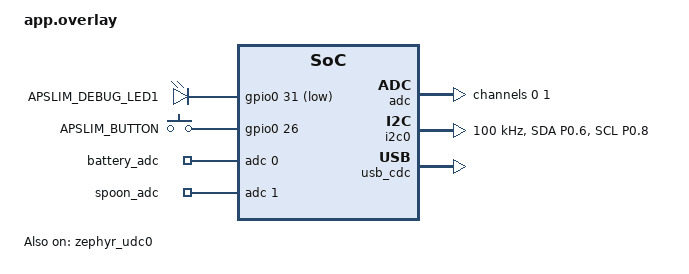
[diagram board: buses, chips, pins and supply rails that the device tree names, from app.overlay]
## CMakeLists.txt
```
cmake_minimum_required(VERSION 3.20.0)
find_package(Zephyr REQUIRED HINTS $ENV{ZEPHYR_BASE})

project(2026-09-16-000)

target_sources(app PRIVATE src/main.c)
```

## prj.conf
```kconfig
# APSLIM original HW bring-up main.c
# Raytac MDBT50Q-DB-40 / nRF52840, NCS v3.4.1

CONFIG_GPIO=y
CONFIG_ADC=y
CONFIG_I2C=y

# Legacy USB CDC ACM: the original main.c calls usb_enable(NULL).
CONFIG_SERIAL=y
CONFIG_UART_INTERRUPT_DRIVEN=y
CONFIG_UART_LINE_CTRL=y
CONFIG_USB_DEVICE_STACK=y
CONFIG_USB_CDC_ACM=y

# Disable physical UART console (Raytac UART0 overlaps I2C0 pins).
# USB CDC remains available through uart_poll_out(cdc_dev, ...).
CONFIG_CONSOLE=n
CONFIG_UART_CONSOLE=n
CONFIG_LOG=n
```

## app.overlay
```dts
/*
 * APSLIM Rev.A - Minimal Hardware Bring-up Overlay
 * Target: Raytac MDBT50Q-DB-40 / nRF52840
 * SDK: nRF Connect SDK v3.4.1
 *
 * main.c: UNCHANGED
 * Keep: USB CDC, I2C0/1, GPIO (LED/Button), battery/spoon ADC.
 * Disable Raytac board peripherals that may conflict with these pins.
 */

#include <zephyr/dt-bindings/gpio/gpio.h>
#include <zephyr/dt-bindings/adc/adc.h>
#include <zephyr/dt-bindings/adc/nrf-saadc.h>
#include <zephyr/dt-bindings/pinctrl/nrf-pinctrl.h>

/ {
    chosen {
        /* Use USB CDC instead of the development board's HW UART. */
        zephyr,console = &usb_cdc;
        zephyr,shell-uart = &usb_cdc;
    };

    /* GPIO: DEBUG LED P0.31 (active-low), BUTTON P0.26. */
    leds {
        compatible = "gpio-leds";

        apslim_debug_led1: apslim_debug_led_1 {
            gpios = <&gpio0 31 GPIO_ACTIVE_LOW>;
            label = "APSLIM_DEBUG_LED1";
        };
    };

    buttons {
        compatible = "gpio-keys";

        apslim_user_btn: apslim_user_button {
            gpios = <&gpio0 26 GPIO_ACTIVE_HIGH>;
            label = "APSLIM_BUTTON";
        };
    };

    /* Required by the unchanged main.c: DT_PATH(zephyr_user). */
    zephyr,user {
        io-channels = <&adc 0>, <&adc 1>;
        io-channel-names = "battery_adc", "spoon_adc";
    };

    aliases {
        led0 = &apslim_debug_led1;
        sw0 = &apslim_user_btn;
    };
};

/* Disable unused board functions and potential pin/peripheral conflicts. */
&uart0 { status = "disabled"; }; /* Raytac P0.06/P0.08 -> LIS I2C0 */
&uart1 { status = "disabled"; };
&spi0  { status = "disabled"; }; /* Shares serial instance 0 with I2C0 */
&spi1  { status = "disabled"; }; /* Shares serial instance 1 with I2C1 */
&pwm0  { status = "disabled"; };
&qspi  { status = "disabled"; };
&button3 { status = "disabled"; }; /* Raytac SW4 P0.25 -> FDC SCL */

&gpio0 { status = "okay"; };
&gpio1 { status = "okay"; };

/* Minimal ADC definition, retained ONLY because main.c uses battery_adc. */
&adc {
    status = "okay";
    #address-cells = <1>;
    #size-cells = <0>;

    channel@0 {
        reg = <0>;
        zephyr,gain = "ADC_GAIN_1_6";
        zephyr,reference = "ADC_REF_INTERNAL";
        zephyr,acquisition-time = <ADC_ACQ_TIME_DEFAULT>;
        zephyr,input-positive = <NRF_SAADC_AIN0>;
        zephyr,resolution = <12>;
    };

    channel@1 {
        reg = <1>;
        zephyr,gain = "ADC_GAIN_1_6";
        zephyr,reference = "ADC_REF_INTERNAL";
        zephyr,acquisition-time = <ADC_ACQ_TIME_DEFAULT>;
        zephyr,input-positive = <NRF_SAADC_AIN1>;
        zephyr,resolution = <12>;
    };
};

/* LIS2DTW12: I2C0, SDA=P0.06, SCL=P0.08, 100 kHz. */
&i2c0 {
    compatible = "nordic,nrf-twim";
    status = "okay";
    pinctrl-0 = <&apslim_i2c0_default>;
    pinctrl-1 = <&apslim_i2c0_sleep>;
    pinctrl-names = "default", "sleep";
    clock-frequency = <100000>;
};

/* FDC1004: I2C1, SDA=P1.00, SCL=P0.25, 100 kHz. */


&pinctrl {
    apslim_i2c0_default: apslim_i2c0_default {
        group1 {
            psels = <NRF_PSEL(TWIM_SDA, 0, 6)>,
                    <NRF_PSEL(TWIM_SCL, 0, 8)>;
        };
    };

    apslim_i2c0_sleep: apslim_i2c0_sleep {
        group1 {
            psels = <NRF_PSEL(TWIM_SDA, 0, 6)>,
                    <NRF_PSEL(TWIM_SCL, 0, 8)>;
            low-power-enable;
        };
    };

    apslim_i2c1_default: apslim_i2c1_default {
        group1 {
            psels = <NRF_PSEL(TWIM_SDA, 1, 0)>,
                    <NRF_PSEL(TWIM_SCL, 0, 25)>;
        };
    };

    apslim_i2c1_sleep: apslim_i2c1_sleep {
        group1 {
            psels = <NRF_PSEL(TWIM_SDA, 1, 0)>,
                    <NRF_PSEL(TWIM_SCL, 0, 25)>;
            low-power-enable;
        };
    };
};

/* USB CDC virtual COM used directly by main.c. */
&zephyr_udc0 {
    status = "okay";

    usb_cdc: usb_cdc {
        compatible = "zephyr,cdc-acm-uart";
    };
};
```

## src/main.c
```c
/*
 * APSLIM Rev.A - Hardware Bring-up
 * MCU: nRF52840 (Raytac MDBT50Q)
 * SDK: nRF Connect SDK v3.4.1 / Zephyr (legacy USB device stack)
 *
 * Kept: LED(P0.31), BTN(P0.26), BAT ADC(P0.02), USB CDC.
 * Updated: LIS2DTW12 WHO_AM_I=0x44, repeated I2C0/I2C1 checks.
 *
 * app.overlay must provide:
 *   led0, sw0, zephyr,user/battery_adc, i2c0, i2c1, usb_cdc.
 */

#include <zephyr/kernel.h>
#include <zephyr/device.h>
#include <zephyr/drivers/gpio.h>
#include <zephyr/drivers/adc.h>
#include <zephyr/drivers/uart.h>
#include <zephyr/drivers/i2c.h>
#include <zephyr/usb/usb_device.h>

#include <stdbool.h>
#include <stdint.h>
#include <stdio.h>
#include <errno.h>

/* =========================================================
 * Adjustable periods
 * ========================================================= */
#define LED_TOGGLE_PERIOD_MS     500
#define ADC_SAMPLE_PERIOD_MS     500
#define BUTTON_DEBOUNCE_MS        30
#define I2C_POLL_PERIOD_MS        20
#define I2C_REPORT_PERIOD_MS    1000
#define MAIN_LOOP_PERIOD_MS       10

/* =========================================================
 * DeviceTree handles (same interface as the original main.c)
 * ========================================================= */
static const struct gpio_dt_spec debug_led1 =
    GPIO_DT_SPEC_GET(DT_ALIAS(led0), gpios);

static const struct gpio_dt_spec button =
    GPIO_DT_SPEC_GET(DT_ALIAS(sw0), gpios);

static const struct adc_dt_spec battery_adc =
    ADC_DT_SPEC_GET_BY_NAME(DT_PATH(zephyr_user), battery_adc);

static const struct device *const lis_i2c =
    DEVICE_DT_GET(DT_NODELABEL(i2c0));

static const struct device *const fdc_i2c =
    DEVICE_DT_GET(DT_NODELABEL(i2c1));

static const struct device *const cdc_dev =
    DEVICE_DT_GET(DT_NODELABEL(usb_cdc));

/* =========================================================
 * I2C sensor IDs / registers
 * ========================================================= */
#define LIS2DTW12_ADDR_LOW        0x18
#define LIS2DTW12_ADDR_HIGH       0x19
#define LIS2DTW12_WHO_AM_I_REG    0x0F
#define LIS2DTW12_WHO_AM_I_VALUE  0x44

#define FDC1004_ADDR              0x50
#define FDC1004_DEVICE_ID_REG     0xFF
#define FDC1004_DEVICE_ID_VALUE   0x1004

struct i2c_probe {
    int last_ret;
    uint16_t last_id;
    uint32_t attempts;
    uint32_t reads_ok;
    uint32_t id_match;
};

static void usb_send_string(const char *str)
{
    while (*str != '\0') {
        uart_poll_out(cdc_dev, (unsigned char)*str);
        str++;
    }
}

static void probe_lis2dtw12(uint8_t addr, struct i2c_probe *status)
{
    uint8_t id = 0;
    int ret;

    if (!device_is_ready(lis_i2c)) {
        ret = -ENODEV;
    } else {
        ret = i2c_reg_read_byte(lis_i2c, addr,
                                LIS2DTW12_WHO_AM_I_REG, &id);
    }

    status->attempts++;
    status->last_ret = ret;
    status->last_id = (ret == 0) ? id : 0;

    if (ret == 0) {
        status->reads_ok++;
        if (id == LIS2DTW12_WHO_AM_I_VALUE) {
            status->id_match++;
        }
    }
}

static void probe_fdc1004(struct i2c_probe *status)
{
    const uint8_t reg = FDC1004_DEVICE_ID_REG;
    uint8_t rx[2] = {0, 0};
    uint16_t id = 0;
    int ret;

    if (!device_is_ready(fdc_i2c)) {
        ret = -ENODEV;
    } else {
        ret = i2c_write_read(fdc_i2c, FDC1004_ADDR,
                             &reg, sizeof(reg), rx, sizeof(rx));
    }

    if (ret == 0) {
        id = ((uint16_t)rx[0] << 8) | rx[1];
    }

    status->attempts++;
    status->last_ret = ret;
    status->last_id = id;

    if (ret == 0) {
        status->reads_ok++;
        if (id == FDC1004_DEVICE_ID_VALUE) {
            status->id_match++;
        }
    }
}

static void print_probe_status(const char *label,
                               const struct i2c_probe *status,
                               bool id_is_16bit)
{
    char buffer[144];

    if (status->last_ret == 0) {
        if (id_is_16bit) {
            snprintf(buffer, sizeof(buffer),
                     "%s: ret=0 ID=0x%04X | READ=%lu/%lu MATCH=%lu\r\n",
                     label, (unsigned int)status->last_id,
                     (unsigned long)status->reads_ok,
                     (unsigned long)status->attempts,
                     (unsigned long)status->id_match);
        } else {
            snprintf(buffer, sizeof(buffer),
                     "%s: ret=0 WHO=0x%02X | READ=%lu/%lu MATCH=%lu\r\n",
                     label, (unsigned int)status->last_id,
                     (unsigned long)status->reads_ok,
                     (unsigned long)status->attempts,
                     (unsigned long)status->id_match);
        }
    } else {
        snprintf(buffer, sizeof(buffer),
                 "%s: ret=%d READ_FAIL | READ=%lu/%lu MATCH=%lu\r\n",
                 label, status->last_ret,
                 (unsigned long)status->reads_ok,
                 (unsigned long)status->attempts,
                 (unsigned long)status->id_match);
    }
    usb_send_string(buffer);
}

static void print_i2c_status(const struct i2c_probe *lis18,
                             const struct i2c_probe *lis19,
                             const struct i2c_probe *fdc)
{
    usb_send_string("\r\n----------- I2C CHECK -----------\r\n");
    usb_send_string(device_is_ready(lis_i2c) ?
                    "I2C0 (LIS): READY\r\n" :
                    "I2C0 (LIS): NOT READY\r\n");
    usb_send_string(device_is_ready(fdc_i2c) ?
                    "I2C1 (FDC): READY\r\n" :
                    "I2C1 (FDC): NOT READY\r\n");

    print_probe_status("LIS2DTW12 0x18", lis18, false);
    print_probe_status("LIS2DTW12 0x19", lis19, false);
    print_probe_status("FDC1004   0x50", fdc, true);
    usb_send_string("---------------------------------\r\n");
}

static void print_startup(bool led_ready, bool btn_ready, bool adc_ready)
{
    char buffer[96];

    usb_send_string("\r\n=================================\r\n");
    usb_send_string(" APSLIM HW BRING-UP / LIS2DTW12\r\n");
    usb_send_string("=================================\r\n");
    snprintf(buffer, sizeof(buffer),
             "LED P0.31 : %s | BTN P0.26 : %s\r\n",
             led_ready ? "READY" : "FAIL",
             btn_ready ? "READY" : "FAIL");
    usb_send_string(buffer);
    snprintf(buffer, sizeof(buffer), "BAT ADC P0.02 : %s\r\n",
             adc_ready ? "READY" : "FAIL");
    usb_send_string(buffer);
    usb_send_string("LIS I2C0: SDA=P0.06 SCL=P0.08\r\n");
    usb_send_string("FDC I2C1: SDA=P1.00 SCL=P0.25\r\n");
    usb_send_string("I2C interval: 20 ms (reg reads)\r\n");
    usb_send_string("Expected: LIS WHO=0x44, FDC ID=0x1004\r\n");
}

int main(void)
{
    bool led_ready = false;
    bool btn_ready = false;
    bool adc_ready = false;
    bool usb_ready = false;
    bool terminal_connected = false;

    int ret;
    int btn_raw = 0;
    int btn_last_raw = 0;
    int btn_stable = 0;
    int16_t adc_raw = 0;
    int32_t adc_mv = 0;
    uint32_t dtr = 0;
    char buffer[128];

    int64_t now;
    int64_t last_led_time = 0;
    int64_t last_btn_change_time = 0;
    int64_t last_adc_time = 0;
    int64_t last_i2c_time = 0;
    int64_t last_i2c_report_time = 0;

    struct i2c_probe lis18 = { .last_ret = -ENODEV };
    struct i2c_probe lis19 = { .last_ret = -ENODEV };
    struct i2c_probe fdc   = { .last_ret = -ENODEV };

    struct adc_sequence adc_seq = {
        .buffer = &adc_raw,
        .buffer_size = sizeof(adc_raw),
    };

    /* GPIO and ADC are non-fatal: I2C probing must still run. */
    if (gpio_is_ready_dt(&debug_led1)) {
        led_ready = (gpio_pin_configure_dt(&debug_led1,
                                          GPIO_OUTPUT_INACTIVE) == 0);
    }
    if (gpio_is_ready_dt(&button)) {
        btn_ready = (gpio_pin_configure_dt(&button, GPIO_INPUT) == 0);
        if (btn_ready) {
            btn_raw = gpio_pin_get_dt(&button);
            if (btn_raw < 0) {
                btn_ready = false;
            } else {
                btn_last_raw = btn_raw;
                btn_stable = btn_raw;
            }
        }
    }
    if (adc_is_ready_dt(&battery_adc) &&
        adc_channel_setup_dt(&battery_adc) == 0 &&
        adc_sequence_init_dt(&battery_adc, &adc_seq) == 0) {
        adc_ready = true;
    }

    if (device_is_ready(cdc_dev) && (usb_enable(NULL) == 0)) {
        usb_ready = true;
    }

    while (1) {
        now = k_uptime_get();

        /* LED: hardware power-on heartbeat (independent of USB). */
        if (led_ready && (now - last_led_time >= LED_TOGGLE_PERIOD_MS)) {
            last_led_time = now;
            (void)gpio_pin_toggle_dt(&debug_led1);
        }

        /* Poll actual I2C hardware continuously, even without USB CDC. */
        if (now - last_i2c_time >= I2C_POLL_PERIOD_MS) {
            last_i2c_time = now;
            probe_lis2dtw12(LIS2DTW12_ADDR_LOW, &lis18);
            probe_lis2dtw12(LIS2DTW12_ADDR_HIGH, &lis19);
            probe_fdc1004(&fdc);
        }

        if (usb_ready) {
            dtr = 0;
            ret = uart_line_ctrl_get(cdc_dev, UART_LINE_CTRL_DTR, &dtr);
            if (ret == 0 && dtr != 0U) {
                if (!terminal_connected) {
                    terminal_connected = true;
                    print_startup(led_ready, btn_ready, adc_ready);
                    print_i2c_status(&lis18, &lis19, &fdc);
                    last_i2c_report_time = now;
                }
            } else {
                terminal_connected = false;
            }
        }

        /* Button: 30 ms software debounce. */
        if (btn_ready) {
            btn_raw = gpio_pin_get_dt(&button);
            if (btn_raw >= 0) {
                if (btn_raw != btn_last_raw) {
                    btn_last_raw = btn_raw;
                    last_btn_change_time = now;
                }
                if (now - last_btn_change_time >= BUTTON_DEBOUNCE_MS &&
                    btn_raw != btn_stable) {
                    btn_stable = btn_raw;
                    if (terminal_connected) {
                        snprintf(buffer, sizeof(buffer),
                                 "BTN : %d\r\n", btn_stable);
                        usb_send_string(buffer);
                    }
                }
            }
        }

        /* Battery ADC: original 500 ms interval. */
        if (now - last_adc_time >= ADC_SAMPLE_PERIOD_MS) {
            last_adc_time = now;
            if (adc_ready) {
                ret = adc_read_dt(&battery_adc, &adc_seq);
                if (terminal_connected) {
                    if (ret < 0) {
                        snprintf(buffer, sizeof(buffer),
                                 "BAT ADC ERROR : %d\r\n", ret);
                    } else {
                        adc_mv = adc_raw;
                        ret = adc_raw_to_millivolts_dt(&battery_adc,
                                                       &adc_mv);
                        if (ret == 0) {
                            snprintf(buffer, sizeof(buffer),
                                     "BAT ADC RAW : %d | ADC PIN : %ld mV\r\n",
                                     adc_raw, (long)adc_mv);
                        } else {
                            snprintf(buffer, sizeof(buffer),
                                     "BAT ADC RAW : %d\r\n", adc_raw);
                        }
                    }
                    usb_send_string(buffer);
                }
            }
        }

        if (terminal_connected &&
            (now - last_i2c_report_time >= I2C_REPORT_PERIOD_MS)) {
            last_i2c_report_time = now;
            print_i2c_status(&lis18, &lis19, &fdc);
        }

        k_msleep(MAIN_LOOP_PERIOD_MS);
    }

    return 0;
}
```
